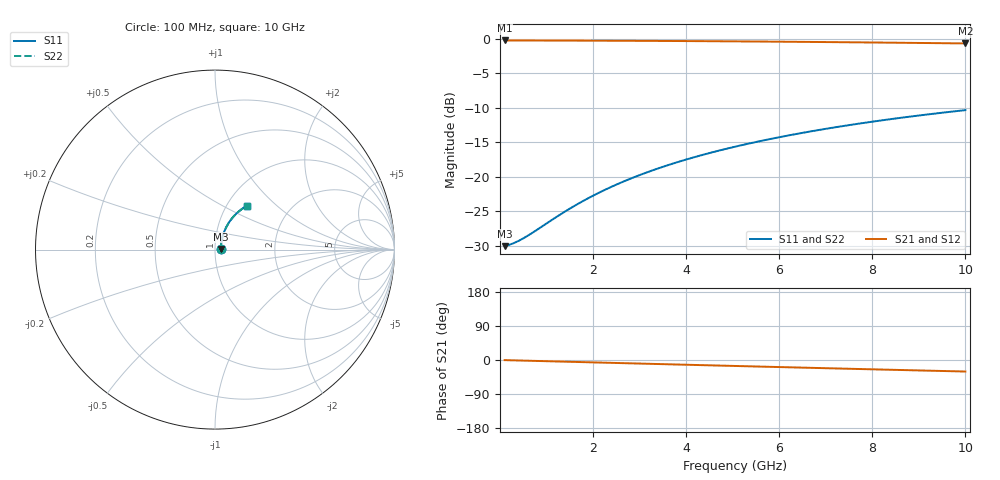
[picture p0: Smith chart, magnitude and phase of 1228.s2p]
# Hz S RI R 50.00
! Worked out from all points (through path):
!   100 points, 100 MHz to 10 GHz, reference 50 ohm
!   highest |S21| = -0.28 dB at 100 MHz (marker M1); lowest = -0.7 dB at 10 GHz (marker M2)
!   group delay of S21, straight-line fit = 8.47 ps
!   lowest |S11| = -30.1 dB at 100 MHz (marker M3), VSWR 1.06, Z = 53.2 + j0.331 ohm
!   |S11| at or under -10 dB: start of sweep to end of sweep
!   |S22| runs from -30.1 to -10.4 dB; largest |S21 - S12| = 0
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1e8  0.0313 0.00311  0.9687 -0.00532  0.9687 -0.00532  0.0313 0.00311
2e8  0.0315 0.00621  0.9685 -0.0106  0.9685 -0.0106  0.0315 0.00621
3e8  0.0318 0.00931  0.9682 -0.0159  0.9682 -0.0159  0.0318 0.00931
5e8  0.0323 0.0155  0.9677 -0.0266  0.9677 -0.0266  0.0323 0.0155
7e8  0.0328 0.0217  0.967 -0.0372  0.967 -0.0372  0.0328 0.0217
1.2e9  0.0348 0.037  0.9649 -0.0636  0.9649 -0.0636  0.0348 0.037
1.4e9  0.0357 0.0431  0.9637 -0.0741  0.9637 -0.0741  0.0357 0.0431
1.8e9  0.0381 0.0553  0.9611 -0.0951  0.9611 -0.0951  0.0381 0.0553
2.2e9  0.0409 0.0673  0.9578 -0.1159  0.9578 -0.1159  0.0409 0.0673
2.6e9  0.0443 0.0791  0.954 -0.1366  0.954 -0.1366  0.0443 0.0791
3e9  0.0481 0.0908  0.9496 -0.1572  0.9496 -0.1572  0.0481 0.0908
3.4e9  0.0525 0.1022  0.9446 -0.1775  0.9446 -0.1775  0.0525 0.1022
3.8e9  0.0573 0.1134  0.9391 -0.1975  0.9391 -0.1975  0.0573 0.1134
4.2e9  0.0625 0.1244  0.933 -0.2174  0.933 -0.2174  0.0625 0.1244
4.6e9  0.0682 0.1351  0.9264 -0.237  0.9264 -0.237  0.0682 0.1351
5.1e9  0.076 0.148  0.9174 -0.261  0.9174 -0.261  0.076 0.148
5.9e9  0.0897 0.1677  0.9015 -0.2984  0.9015 -0.2984  0.0897 0.1677
6.7e9  0.1049 0.186  0.8837 -0.3345  0.8837 -0.3345  0.1049 0.186
7.5e9  0.1214 0.2027  0.8643 -0.3691  0.8643 -0.3691  0.1214 0.2027
8.4e9  0.1413 0.2196  0.8407 -0.4061  0.8407 -0.4061  0.1413 0.2196
9.2e9  0.1601 0.2329  0.8184 -0.4372  0.8184 -0.4372  0.1601 0.2329
1e10  0.1796 0.2445  0.7949 -0.4667  0.7949 -0.4667  0.1796 0.2445
